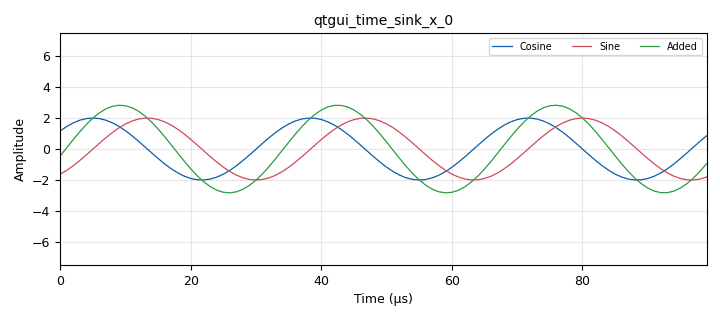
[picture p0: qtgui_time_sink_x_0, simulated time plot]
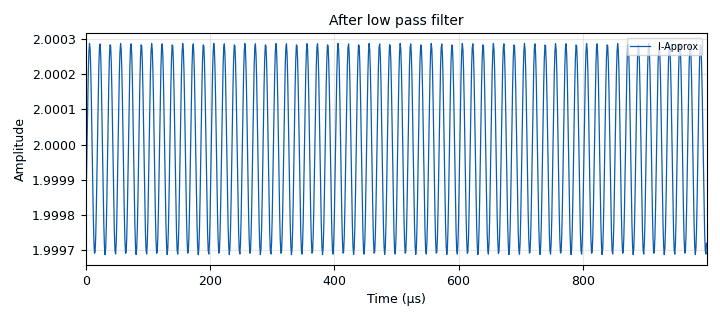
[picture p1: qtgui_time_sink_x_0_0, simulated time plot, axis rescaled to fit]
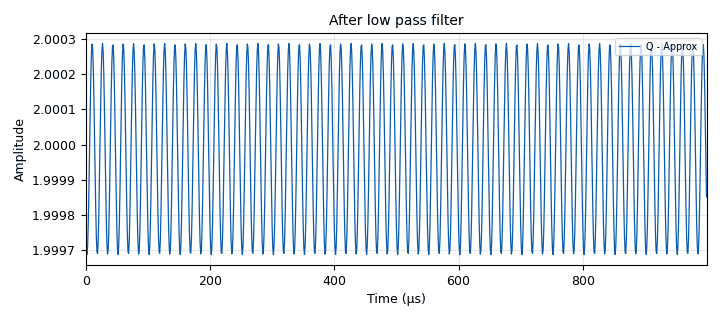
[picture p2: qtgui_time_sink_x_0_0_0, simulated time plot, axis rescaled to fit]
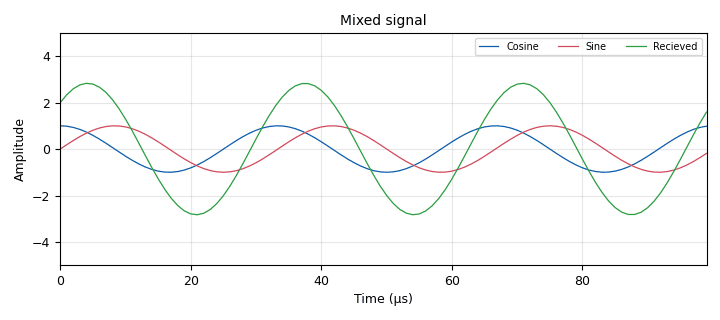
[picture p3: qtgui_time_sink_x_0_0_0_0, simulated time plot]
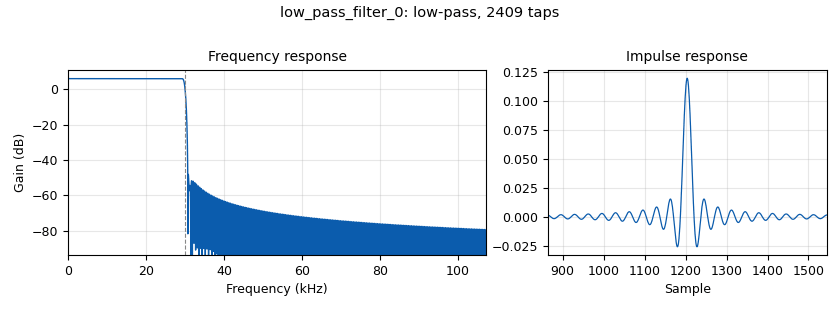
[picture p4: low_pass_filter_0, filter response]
options:
  parameters:
    author: jason
    generate_options: qt_gui
    id: basicSDR
    output_language: python
    title: Sin Cosine Math
  states: {}

blocks:
- name: IAmp
  id: variable_qtgui_range
  parameters:
    gui_hint: 1,0,1,2
    label: I
    start: '-MaxAmp'
    step: '0.1'
    stop: MaxAmp
    value: '2'
  states: {}
- name: MaxAmp
  id: variable
  parameters:
    value: '5'
  states: {}
- name: QAmp
  id: variable_qtgui_range
  parameters:
    gui_hint: 2,0,1,2
    label: Q
    start: '-MaxAmp'
    step: '0.1'
    stop: MaxAmp
    value: '2'
  states: {}
- name: freq1_kHz
  id: variable_qtgui_range
  parameters:
    gui_hint: 0,0,1,2
    label: Frequency 1 (kHz)
    start: '1'
    step: '1'
    stop: '500'
    value: '30'
  states: {}
- name: samp_rate
  id: variable
  parameters:
    value: 1e6
  states: {}
- name: analog_sig_source_x_0
  id: analog_sig_source_x
  parameters:
    amp: IAmp
    freq: freq1_kHz*1000
    offset: '0'
    phase: '0'
    samp_rate: samp_rate
    type: float
    waveform: analog.GR_COS_WAVE
  states: {}
- name: analog_sig_source_x_0_0
  id: analog_sig_source_x
  parameters:
    amp: QAmp
    freq: freq1_kHz*1000
    offset: '0'
    phase: '0'
    samp_rate: samp_rate
    type: float
    waveform: analog.GR_SIN_WAVE
  states: {}
- name: analog_sig_source_x_0_0_0
  id: analog_sig_source_x
  parameters:
    amp: '1'
    freq: '30000'
    offset: '0'
    phase: '0'
    samp_rate: samp_rate
    type: float
    waveform: analog.GR_SIN_WAVE
  states: {}
- name: analog_sig_source_x_0_1
  id: analog_sig_source_x
  parameters:
    amp: '1'
    freq: '30000'
    offset: '0'
    phase: '0'
    samp_rate: samp_rate
    type: float
    waveform: analog.GR_COS_WAVE
  states: {}
- name: blocks_add_xx_0
  id: blocks_add_xx
  parameters:
    type: float
  states: {}
- name: blocks_multiply_xx_0
  id: blocks_multiply_xx
  parameters:
    type: float
  states: {}
- name: blocks_multiply_xx_0_0
  id: blocks_multiply_xx
  parameters:
    type: float
  states: {}
- name: blocks_throttle_0
  id: blocks_throttle
  parameters:
    samples_per_second: samp_rate
    type: float
  states: {}
- name: blocks_throttle_0_0
  id: blocks_throttle
  parameters:
    samples_per_second: samp_rate
    type: float
  states: {}
- name: import_0
  id: import
  parameters:
    imports: import math
  states: {}
- name: low_pass_filter_0
  id: low_pass_filter
  parameters:
    cutoff_freq: '30000'
    gain: '2'
    interp: '1'
    samp_rate: samp_rate
    type: interp_fir_filter_fff
    width: '1000'
    win: window.WIN_HAMMING
  states: {}
- name: low_pass_filter_0_0
  id: low_pass_filter
  parameters:
    cutoff_freq: '30000'
    gain: '2'
    interp: '1'
    samp_rate: samp_rate
    type: interp_fir_filter_fff
    width: '1000'
    win: window.WIN_HAMMING
  states: {}
- name: qtgui_freq_sink_x_0
  id: qtgui_freq_sink_x
  parameters:
    bw: samp_rate
    fc: '0'
    fftsize: '16384'
    freqhalf: 'False'
    gui_hint: 16,1,3,1
    type: float
    wintype: window.WIN_HAMMING
  states: {state: disabled}
- name: qtgui_time_sink_x_0
  id: qtgui_time_sink_x
  parameters:
    entags: 'False'
    gui_hint: 3,0,3,2
    label1: Cosine
    label2: Sine
    label3: Added
    name: ''
    nconnections: '3'
    size: '100'
    srate: samp_rate
    tr_chan: '2'
    tr_mode: qtgui.TRIG_MODE_AUTO
    type: float
    width3: '3'
    ymax: MaxAmp*1.5
    ymin: '-MaxAmp*1.5'
  states: {}
- name: qtgui_time_sink_x_0_0
  id: qtgui_time_sink_x
  parameters:
    gui_hint: 16,0,3,1
    label1: I-Approx
    name: After low pass filter
    size: '1000'
    srate: samp_rate
    type: float
    ymax: MaxAmp
    ymin: '-MaxAmp'
  states: {}
- name: qtgui_time_sink_x_0_0_0
  id: qtgui_time_sink_x
  parameters:
    color1: red
    gui_hint: 16,1,3,1
    label1: Q - Approx
    name: After low pass filter
    size: '1000'
    srate: samp_rate
    type: float
    ymax: MaxAmp
    ymin: '-MaxAmp'
  states: {}
- name: qtgui_time_sink_x_0_0_0_0
  id: qtgui_time_sink_x
  parameters:
    gui_hint: 12,0,4,2
    label1: Cosine
    label2: Sine
    label3: Recieved
    name: Mixed signal
    nconnections: '3'
    size: '100'
    srate: samp_rate
    tr_chan: '1'
    tr_mode: qtgui.TRIG_MODE_AUTO
    type: float
    width3: '3'
    ymax: MaxAmp
    ymin: '-MaxAmp'
  states: {}

connections:
- [analog_sig_source_x_0, '0', blocks_throttle_0, '0']
- [analog_sig_source_x_0_0, '0', blocks_throttle_0_0, '0']
- [analog_sig_source_x_0_0_0, '0', blocks_multiply_xx_0_0, '1']
- [analog_sig_source_x_0_0_0, '0', qtgui_time_sink_x_0_0_0_0, '1']
- [analog_sig_source_x_0_1, '0', blocks_multiply_xx_0, '0']
- [analog_sig_source_x_0_1, '0', qtgui_time_sink_x_0_0_0_0, '0']
- [blocks_add_xx_0, '0', blocks_multiply_xx_0, '1']
- [blocks_add_xx_0, '0', blocks_multiply_xx_0_0, '0']
- [blocks_add_xx_0, '0', qtgui_time_sink_x_0, '2']
- [blocks_add_xx_0, '0', qtgui_time_sink_x_0_0_0_0, '2']
- [blocks_multiply_xx_0, '0', low_pass_filter_0, '0']
- [blocks_multiply_xx_0_0, '0', low_pass_filter_0_0, '0']
- [blocks_throttle_0, '0', blocks_add_xx_0, '0']
- [blocks_throttle_0, '0', qtgui_time_sink_x_0, '0']
- [blocks_throttle_0_0, '0', blocks_add_xx_0, '1']
- [blocks_throttle_0_0, '0', qtgui_time_sink_x_0, '1']
- [low_pass_filter_0, '0', qtgui_time_sink_x_0_0, '0']
- [low_pass_filter_0_0, '0', qtgui_freq_sink_x_0, '0']
- [low_pass_filter_0_0, '0', qtgui_time_sink_x_0_0_0, '0']

metadata:
  file_format: 1
  grc_version: 3.10.5.1
